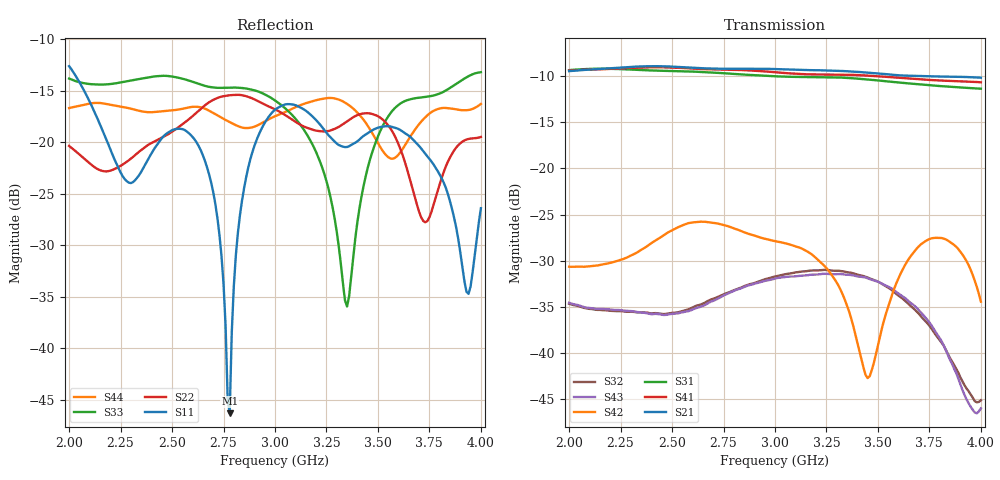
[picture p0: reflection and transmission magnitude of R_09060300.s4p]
!Agilent Technologies,N5224A,MY51441093,A.09.90.21
!Agilent N5224A: A.09.90.21
!Date: Friday, December 19, 2025 16:48:02
!Correction: S11(Full 4 Port(1,2,3,4))
!S12(Full 4 Port(1,2,3,4))
!S13(Full 4 Port(1,2,3,4))
!S14(Full 4 Port(1,2,3,4))
!S21(Full 4 Port(1,2,3,4))
!S22(Full 4 Port(1,2,3,4))
!S23(Full 4 Port(1,2,3,4))
!S24(Full 4 Port(1,2,3,4))
!S31(Full 4 Port(1,2,3,4))
!S32(Full 4 Port(1,2,3,4))
!S33(Full 4 Port(1,2,3,4))
!S34(Full 4 Port(1,2,3,4))
!S41(Full 4 Port(1,2,3,4))
!S42(Full 4 Port(1,2,3,4))
!S43(Full 4 Port(1,2,3,4))
!S44(Full 4 Port(1,2,3,4))
!S4P File: Measurements: <S11,S12,S13,S14>,
!<S21,S22,S23,S24>,
!<S31,S32,S33,S34>,
!<S41,S42,S43,S44>:
# Hz S  dB  R 50
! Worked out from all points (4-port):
!   201 points, 2 GHz to 4 GHz, reference 50 ohm
!   strongest paths, dB at 2 GHz, 2.5 GHz, 3 GHz, 3.5 GHz, 4 GHz:
!     S21: -9.5, -9.0, -9.2, -9.7, -10.2
!     S41: -9.4, -9.1, -9.6, -10.0, -10.7
!     S31: -9.4, -9.4, -10.0, -10.5, -11.4
!     S42: -30.6, -26.7, -27.9, -39.2, -34.4
!     S43: -34.5, -35.8, -31.9, -32.3, -46.0
!     S32: -34.7, -35.7, -31.7, -32.3, -45.1
!   lowest |S11| = -46.3 dB at 2.78 GHz (marker M1), VSWR 1.01, Z = 50.1 + j0.471 ohm
!   |S11| at or under -10 dB: start of sweep to end of sweep
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2e9  -12.61 -49.3  -9.43 -73.8  -9.30 143.3  -9.51 -143.9
     -9.46 -73.9  -20.35 109.3  -34.63 -98.5  -30.77 -42.0
     -9.35 143.5  -34.66 -98.2  -13.81 -63.3  -34.72 -169.2
     -9.40 -143.6  -30.64 -41.8  -34.55 -169.2  -16.67 -28.9
2.29e9  -23.91 -63.8  -9.00 136.2  -9.22 -1.2  -9.26 68.3
        -9.02 136.1  -21.74 -56.5  -35.48 -28.8  -29.69 117.7
        -9.28 -1.2  -35.52 -28.5  -14.03 -123.2  -35.62 -95.8
        -9.12 68.4  -29.54 118.0  -35.44 -95.7  -16.68 -121.5
2.64e9  -20.80 -105.6  -9.11 -42.4  -9.48 -174.8  -9.34 -109.6
        -9.14 -42.5  -16.75 -159.6  -34.70 20.6  -25.92 -113.2
        -9.55 -174.7  -34.74 20.8  -14.39 157.6  -35.15 -46.7
        -9.23 -109.6  -25.77 -113.1  -34.98 -46.8  -16.61 169.9
2.78e9  -46.30 76.2  -9.16 -111.7  -9.66 115.6  -9.40 -179.6
        -9.20 -111.8  -15.43 164.8  -33.36 -99.2  -26.46 162.2
        -9.73 115.7  -33.39 -99.0  -14.69 133.3  -33.64 -166.7
        -9.31 -179.5  -26.32 162.4  -33.47 -166.7  -18.04 147.2
3e9  -16.83 -43.6  -9.20 138.8  -9.94 6.9  -9.67 70.0
     -9.24 138.8  -16.80 119.5  -31.68 70.0  -28.01 47.7
     -10.02 7.1  -31.71 70.2  -15.93 86.3  -32.09 2.4
     -9.58 70.2  -27.88 48.0  -31.93 2.3  -17.47 129.7
3.35e9  -20.45 -94.7  -9.43 -34.1  -10.11 -168.0  -9.91 -102.7
        -9.47 -34.2  -17.96 93.5  -31.19 121.0  -34.96 -134.3
        -10.19 -167.7  -31.24 121.3  -35.93 87.7  -31.67 50.9
        -9.85 -102.6  -34.88 -134.2  -31.51 50.9  -16.27 66.2
4e9  -26.39 -1.0  -10.12 8.4  -11.27 -134.9  -10.70 -65.8
     -10.17 8.7  -19.47 75.1  -45.07 173.6  -34.50 -33.7
     -11.36 -134.3  -45.11 174.1  -13.19 25.0  -46.06 94.0
     -10.67 -65.1  -34.43 -33.3  -45.99 94.1  -16.27 25.1
